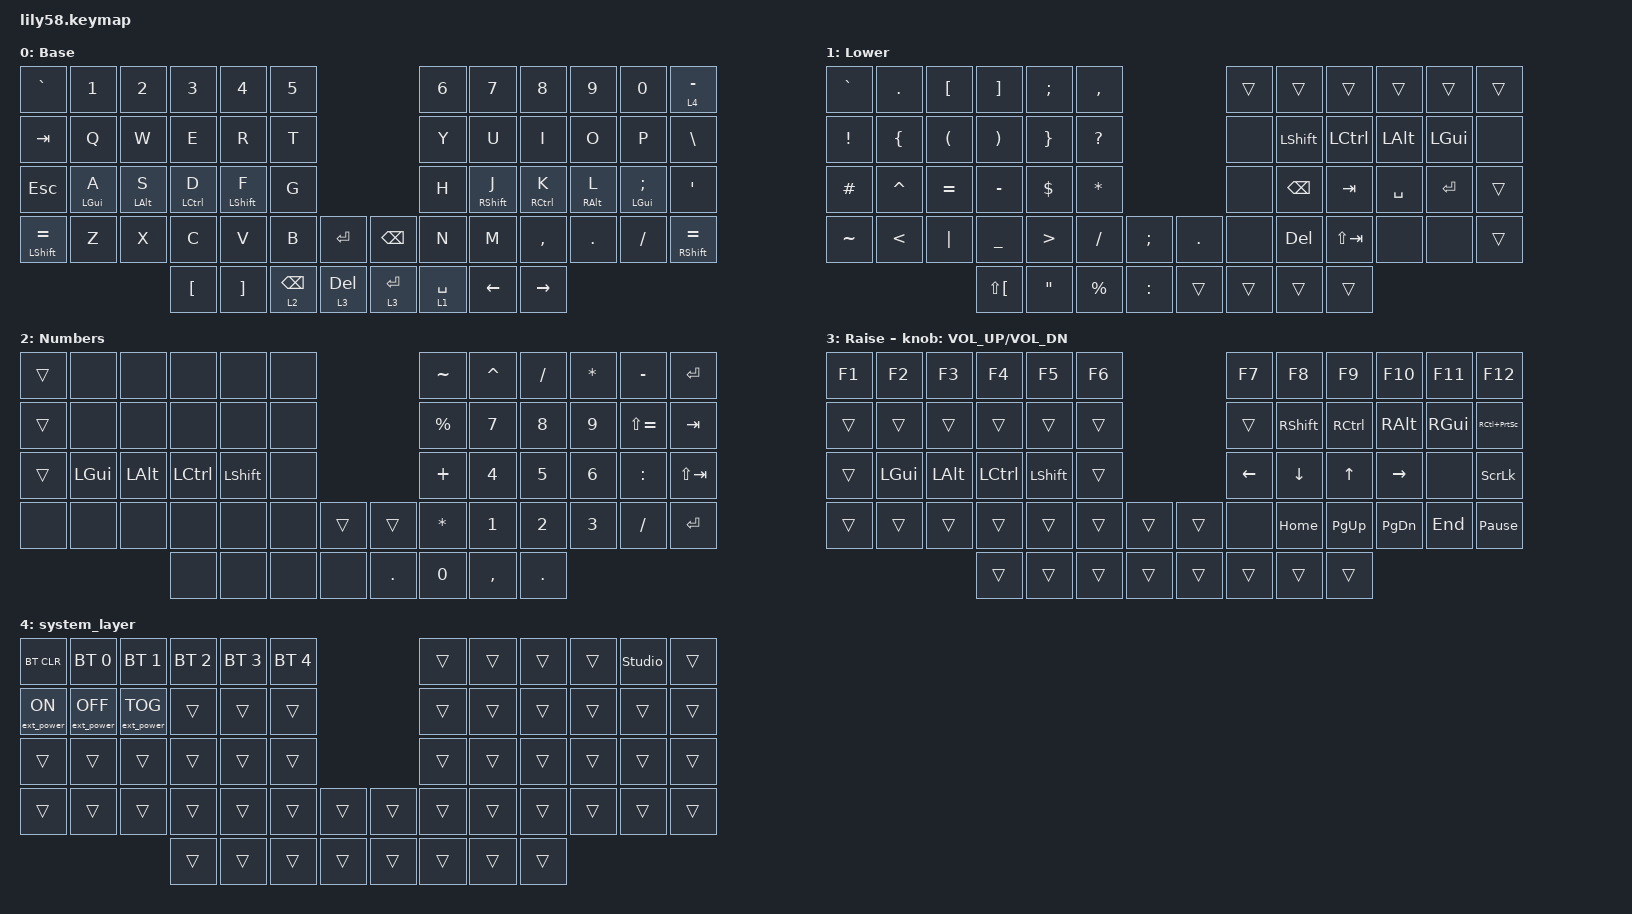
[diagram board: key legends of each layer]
/*
 * Copyright (c) 2020 The ZMK Contributors
 *
 * SPDX-License-Identifier: MIT
 */

#include <behaviors.dtsi>
#include <dt-bindings/zmk/bt.h>
#include <dt-bindings/zmk/ext_power.h>
#include <dt-bindings/zmk/keys.h>

&lt { quick-tap-ms = <175>; };

/ {
    behaviors {
        hrm_right_index: hrm_right_index {
            compatible = "zmk,behavior-hold-tap";
            #binding-cells = <2>;
            tapping-term-ms = <210>;
            quick-tap-ms = <300>;
            flavor = "tap-preferred";
            bindings = <&kp>, <&kp>;

            require-prior-idle-ms = <150>;
            label = "HRM_RIGHT_INDEX";
            hold-trigger-on-release;
            hold-trigger-key-positions = <0 1 2 3 4 5 12 13 14 15 16 17 24 25 26 27 28 29 36 37 38 39 40 41 42 43 50 51 52 53 54>;
        };

        hrm_left_index: hrm_left_index {
            compatible = "zmk,behavior-hold-tap";
            #binding-cells = <2>;
            tapping-term-ms = <210>;
            quick-tap-ms = <300>;
            flavor = "tap-preferred";
            bindings = <&kp>, <&kp>;

            require-prior-idle-ms = <150>;
            label = "HRM_LEFT_INDEX";
            hold-trigger-on-release;
            hold-trigger-key-positions = <6 7 8 9 10 11 18 19 20 21 22 23 30 31 32 33 34 35 42 43 44 45 46 47 48 49 53 54 55 56 57>;
        };

        hrm_left_mid: hrm_left_mid {
            compatible = "zmk,behavior-hold-tap";
            #binding-cells = <2>;
            tapping-term-ms = <210>;
            quick-tap-ms = <300>;
            flavor = "tap-preferred";
            bindings = <&kp>, <&kp>;

            require-prior-idle-ms = <150>;
            label = "HRM_LEFT_MID";
            hold-trigger-on-release;
            hold-trigger-key-positions = <6 7 8 9 10 11 18 19 20 21 22 23 30 31 32 33 34 35 42 43 44 45 46 47 48 49 53 54 55 56 57>;
        };

        hrm_right_mid: hrm_right_mid {
            compatible = "zmk,behavior-hold-tap";
            #binding-cells = <2>;
            tapping-term-ms = <210>;
            quick-tap-ms = <300>;
            flavor = "tap-preferred";
            bindings = <&kp>, <&kp>;

            require-prior-idle-ms = <150>;
            label = "HRM_RIGHT_MID";
            hold-trigger-on-release;
            hold-trigger-key-positions = <0 1 2 3 4 5 12 13 14 15 16 17 24 25 26 27 28 29 36 37 38 39 40 41 42 43 50 51 52 53 54>;
        };

        hrm_left_ring: hrm_left_ring {
            compatible = "zmk,behavior-hold-tap";
            #binding-cells = <2>;
            tapping-term-ms = <240>;
            quick-tap-ms = <300>;
            flavor = "tap-preferred";
            bindings = <&kp>, <&kp>;

            require-prior-idle-ms = <150>;
            label = "HRM_LEFT_RING";
            hold-trigger-on-release;
            hold-trigger-key-positions = <6 7 8 9 10 11 18 19 20 21 22 23 30 31 32 33 34 35 42 43 44 45 46 47 48 49 53 54 55 56 57>;
        };

        hrm_right_ring: hrm_right_ring {
            compatible = "zmk,behavior-hold-tap";
            #binding-cells = <2>;
            tapping-term-ms = <240>;
            quick-tap-ms = <300>;
            flavor = "tap-preferred";
            bindings = <&kp>, <&kp>;

            require-prior-idle-ms = <150>;
            label = "HRM_RIGHT_RING";
            hold-trigger-on-release;
            hold-trigger-key-positions = <0 1 2 3 4 5 12 13 14 15 16 17 24 25 26 27 28 29 36 37 38 39 40 41 42 43 50 51 52 53 54>;
        };

        hrm_left_pink: hrm_left_pink {
            compatible = "zmk,behavior-hold-tap";
            #binding-cells = <2>;
            tapping-term-ms = <260>;
            quick-tap-ms = <300>;
            flavor = "tap-preferred";
            bindings = <&kp>, <&kp>;

            require-prior-idle-ms = <150>;
            label = "HRM_LEFT_PINK";
            hold-trigger-on-release;
            hold-trigger-key-positions = <6 7 8 9 10 11 18 19 20 21 22 23 30 31 32 33 34 35 42 43 44 45 46 47 48 49 53 54 55 56 57>;
        };

        hrm_right_pink: hrm_right_pink {
            compatible = "zmk,behavior-hold-tap";
            #binding-cells = <2>;
            tapping-term-ms = <260>;
            quick-tap-ms = <300>;
            flavor = "tap-preferred";
            bindings = <&kp>, <&kp>;

            require-prior-idle-ms = <150>;
            label = "HRM_RIGHT_PINK";
            hold-trigger-on-release;
            hold-trigger-key-positions = <0 1 2 3 4 5 12 13 14 15 16 17 24 25 26 27 28 29 36 37 38 39 40 41 42 43 50 51 52 53 54>;
        };

        thumb_layer_access: thumb_layer_access {
            compatible = "zmk,behavior-hold-tap";
            #binding-cells = <2>;
            tapping-term-ms = <200>;
            quick-tap-ms = <300>;
            flavor = "balanced";
            bindings = <&mo>, <&kp>;

            label = "THUMB_LAYER_ACCESS";
        };
    };

    combos {
        compatible = "zmk,combos";

        caps_word_index {
            bindings = <&caps_word>;
            key-positions = <28 31>;
        };

        caps_lock {
            bindings = <&kp CLCK>;
            key-positions = <49 36>;
        };
    };

    keymap {
        compatible = "zmk,keymap";

        default_layer {
            display-name = "Base";
            bindings = <
&kp GRAVE        &kp N1                 &kp N2                 &kp N3                 &kp N4                   &kp N5                                                                                     &kp N6                       &kp N7                    &kp N8                  &kp N9                  &kp N0                     &lt 4 MINUS
&kp TAB          &kp Q                  &kp W                  &kp E                  &kp R                    &kp T                                                                                      &kp Y                        &kp U                     &kp I                   &kp O                   &kp P                      &kp BSLH
&kp ESCAPE       &hrm_left_pink LGUI A  &hrm_left_ring LALT S  &hrm_left_mid LCTRL D  &hrm_left_index LSHFT F  &kp G                                                                                      &kp H                        &hrm_right_index RSHFT J  &hrm_right_mid RCTRL K  &hrm_right_ring RALT L  &hrm_right_pink LGUI SEMI  &kp SQT
&mt LSHFT EQUAL  &kp Z                  &kp X                  &kp C                  &kp V                    &kp B                            &kp ENTER                    &kp BACKSPACE                &kp N                        &kp M                     &kp COMMA               &kp DOT                 &kp FSLH                   &mt RIGHT_SHIFT EQUAL
                                                               &kp LEFT_BRACKET       &kp RIGHT_BRACKET        &thumb_layer_access 2 BACKSPACE  &thumb_layer_access 3 DEL    &thumb_layer_access 3 ENTER  &thumb_layer_access 1 SPACE  &kp LEFT_ARROW            &kp RIGHT_ARROW
            >;
        };

        symbols {
            display-name = "Lower";
            bindings = <
&kp GRAVE  &kp PERIOD      &kp LEFT_BRACKET  &kp RIGHT_BRACKET  &kp SEMI           &kp COMMA                              &trans  &trans         &trans       &trans     &trans        &trans
&kp EXCL   &kp LEFT_BRACE  &kp LPAR          &kp RPAR           &kp RBRC           &kp QMARK                              &none   &kp LSHFT      &kp LCTRL    &kp LALT   &kp LEFT_GUI  &none
&kp HASH   &kp CARET       &kp EQUAL         &kp MINUS          &kp DOLLAR         &kp STAR                               &none   &kp BACKSPACE  &kp TAB      &kp SPACE  &kp ENTER     &trans
&kp TILDE  &kp LT          &kp PIPE          &kp UNDER          &kp GT             &kp SLASH    &kp SEMICOLON    &kp DOT  &none   &kp DEL        &kp LS(TAB)  &none      &none         &trans
                                             &kp LS(LBKT)       &kp DOUBLE_QUOTES  &kp PERCENT  &kp COLON        &trans   &trans  &trans         &trans
            >;
        };

        numbers {
            display-name = "Numbers";
            bindings = <
&trans  &none         &none     &none             &none           &none                        &kp TILDE    &kp CARET     &kp SLASH     &kp ASTERISK  &kp MINUS      &kp ENTER
&trans  &none         &none     &none             &none           &none                        &kp PERCENT  &kp N7        &kp N8        &kp N9        &kp LS(EQUAL)  &kp TAB
&trans  &kp LEFT_GUI  &kp LALT  &kp LEFT_CONTROL  &kp LEFT_SHIFT  &none                        &kp PLUS     &kp NUMBER_4  &kp NUMBER_5  &kp NUMBER_6  &kp COLON      &kp LS(TAB)
&none   &none         &none     &none             &none           &none  &trans    &trans      &kp ASTRK    &kp N1        &kp N2        &kp N3        &kp SLASH      &kp ENTER
                                &none             &none           &none  &none     &kp PERIOD  &kp N0       &kp COMMA     &kp PERIOD
            >;
        };

        navigation {
            display-name = "Raise";
            bindings = <
&kp F1  &kp F2    &kp F3        &kp F4     &kp F5     &kp F6                    &kp F7    &kp F8           &kp F9             &kp F10        &kp F11   &kp F12
&trans  &trans    &trans        &trans     &trans     &trans                    &trans    &kp RIGHT_SHIFT  &kp RIGHT_CONTROL  &kp RIGHT_ALT  &kp RGUI  &kp RC(PSCRN)
&trans  &kp LGUI  &kp LEFT_ALT  &kp LCTRL  &kp LSHFT  &trans                    &kp LEFT  &kp DOWN_ARROW   &kp UP_ARROW       &kp RIGHT      &none     &kp SCROLLLOCK
&trans  &trans    &trans        &trans     &trans     &trans  &trans    &trans  &none     &kp HOME         &kp PG_UP          &kp PAGE_DOWN  &kp END   &kp PAUSE_BREAK
                                &trans     &trans     &trans  &trans    &trans  &trans    &trans           &trans
            >;

            sensor-bindings = <&inc_dec_kp C_VOL_UP C_VOL_DN>;
        };

        system_layer {
            bindings = <
&bt BT_CLR        &bt BT_SEL 0       &bt BT_SEL 1       &bt BT_SEL 2  &bt BT_SEL 3  &bt BT_SEL 4                    &trans  &trans  &trans  &trans  &studio_unlock  &trans
&ext_power EP_ON  &ext_power EP_OFF  &ext_power EP_TOG  &trans        &trans        &trans                          &trans  &trans  &trans  &trans  &trans          &trans
&trans            &trans             &trans             &trans        &trans        &trans                          &trans  &trans  &trans  &trans  &trans          &trans
&trans            &trans             &trans             &trans        &trans        &trans        &trans    &trans  &trans  &trans  &trans  &trans  &trans          &trans
                                                        &trans        &trans        &trans        &trans    &trans  &trans  &trans  &trans
            >;
        };

        extra_1 { status = "reserved"; };

        extra_2 { status = "reserved"; };

        extra_3 { status = "reserved"; };
    };
};
